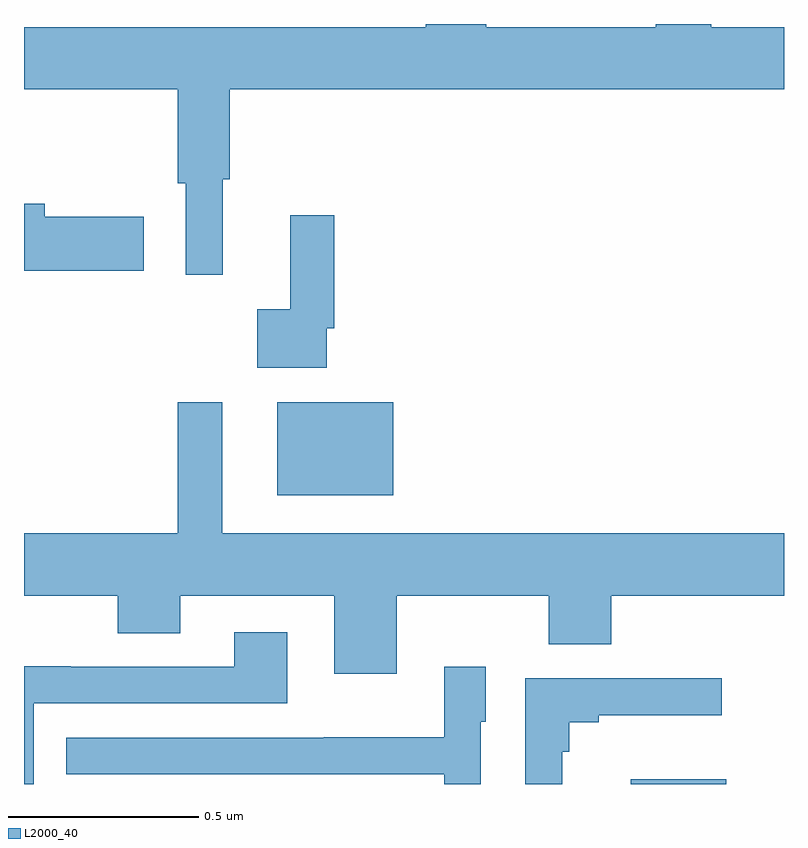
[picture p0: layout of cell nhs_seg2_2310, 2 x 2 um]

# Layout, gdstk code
import gdstk
lib = gdstk.Library(unit=1e-6, precision=1e-09)
def R(c, l, rs):  # rectangles x0, y0, x1, y1
    for r in rs: c.add(gdstk.rectangle(r[:2], r[2:], *l))
def P(c, l, *ps):  # polygons
    for p in ps: c.add(gdstk.Polygon(p, *l))
L2000_40 = (2000, 40)

nhs_seg2_2310 = lib.new_cell('nhs_seg2_2310')
R(nhs_seg2_2310, L2000_40, [(140.597,653.8,140.848,653.812), (139.667,654.56,139.972,654.805)])
P(nhs_seg2_2310, L2000_40, [(139.523,655.392),(139.541,655.392),(139.541,655.628),(141,655.628),(141,655.792),(140.809,655.792),(140.809,655.8),(140.662,655.8),(140.662,655.792),(140.217,655.792),(140.217,655.8),(140.057,655.8),(140.057,655.792),(139,655.792),(139,655.628),(139.405,655.628),(139.405,655.381),(139.425,655.381),(139.425,655.14),(139.523,655.14)],
  [(139.315,655.293),(139.054,655.293),(139.054,655.327),(139,655.327),(139,655.151),(139.315,655.151)],
  [(139.797,655),(139.817,655),(139.817,655.297),(139.7,655.297),(139.7,655.049),(139.614,655.049),(139.614,654.896),(139.797,654.896)],
  [(139.981,654.296),(140.381,654.296),(140.381,654.168),(140.545,654.168),(140.545,654.296),(141,654.296),(141,654.46),(139.522,654.46),(139.522,654.805),(139.405,654.805),(139.405,654.46),(139,654.46),(139,654.296),(139.247,654.296),(139.247,654.197),(139.411,654.197),(139.411,654.296),(139.817,654.296),(139.817,654.09),(139.981,654.09)],
  [(139.026,654.012),(139.693,654.012),(139.693,654.199),(139.553,654.199),(139.553,654.108),(139.123,654.108),(139.123,654.11),(139,654.11),(139,653.8),(139.026,653.8)],
  [(140.202,653.964),(140.215,653.964),(140.215,654.109),(140.106,654.109),(140.106,653.923),(139.789,653.923),(139.789,653.922),(139.111,653.922),(139.111,653.826),(140.106,653.826),(140.106,653.8),(140.202,653.8)],
  [(140.417,653.885),(140.435,653.885),(140.435,653.962),(140.512,653.962),(140.512,653.981),(140.836,653.981),(140.836,654.078),(140.319,654.078),(140.319,653.8),(140.417,653.8)])

lib.write_gds('nhs_seg2_2310.gds')
